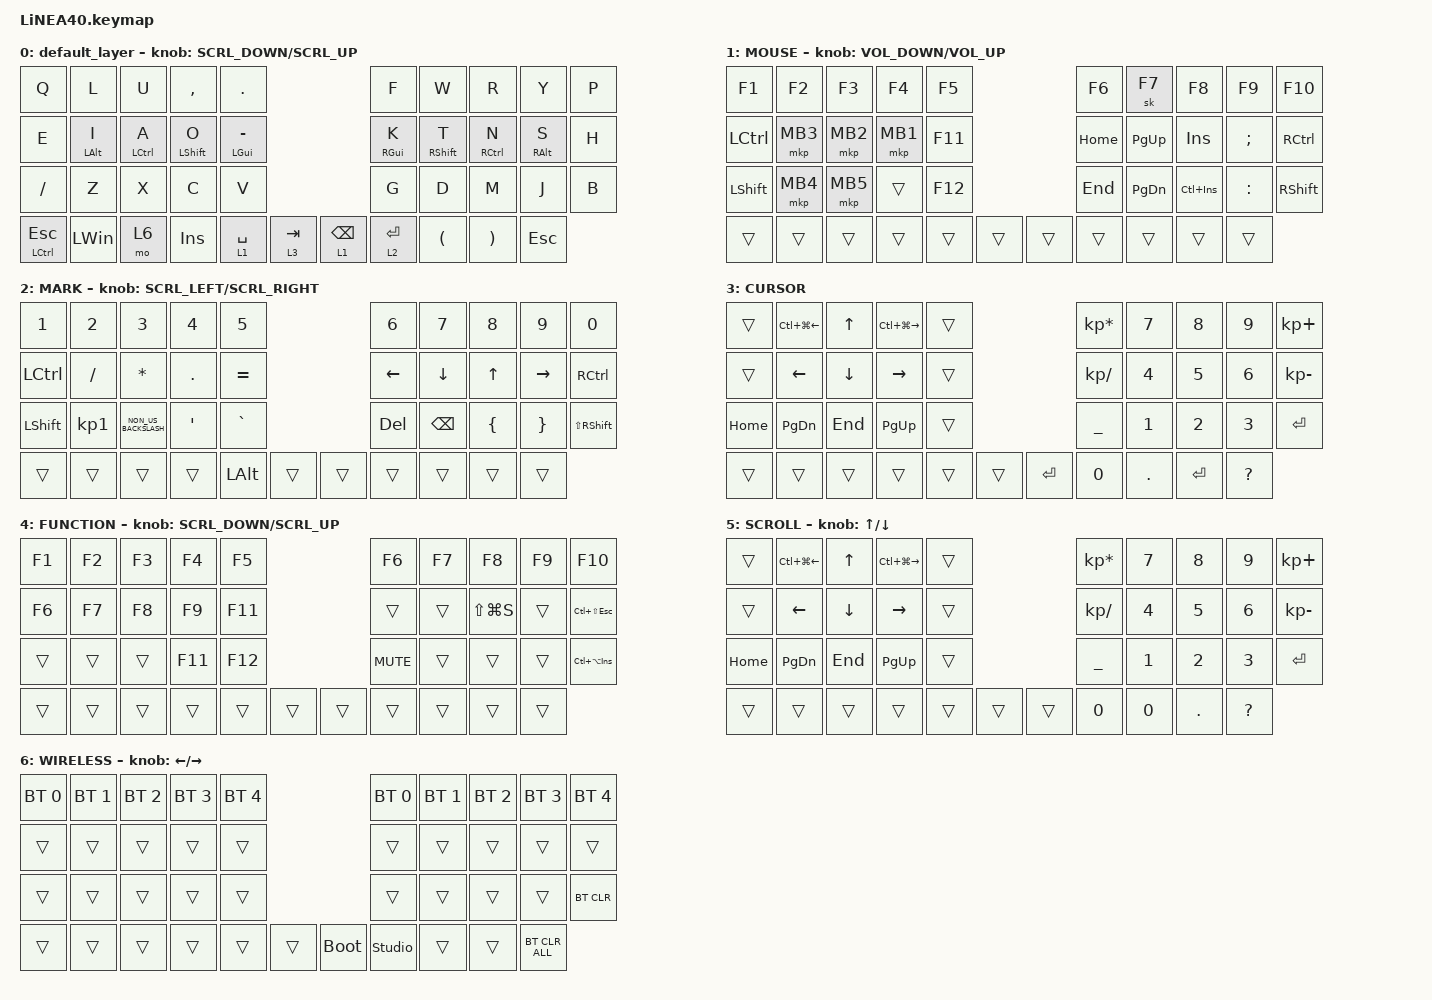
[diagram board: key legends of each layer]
#define ZMK_POINTING_DEFAULT_SCRL_VAL 150

#include <dt-bindings/zmk/input_transform.h>
#include <input/processors.dtsi>
#include <zephyr/dt-bindings/input/input-event-codes.h>
#include <behaviors.dtsi>
#include <dt-bindings/zmk/bt.h>
#include <dt-bindings/zmk/keys.h>
#include <dt-bindings/zmk/pointing.h>

#define MOUSE 1
#define MARK 2
#define CURSOR 3
#define FUNCTION 4
#define SCROLL 5
#define WIRELESS 6

//mouse cursol

&mmv {
    delay-ms = <20>;
    trigger-period-ms = <5>;
    time-to-max-speed-ms = <100>;
    acceleration-exponent = <2>;
};

//mouse scroll

&msc {
    delay-ms = <3>;
    trigger-period-ms = <3>;
    time-to-max-speed-ms = <100>;
    acceleration-exponent = <0>;
};

/ {
    input_processors {
        zip_wheel_scaler: zip_wheel_scaler {
            compatible = "zmk,input-processor-scaler";
            #input-processor-cells = <2>;
            type = <INPUT_EV_REL>;
            codes = <INPUT_REL_WHEEL>;
            track-remainders;
        };
    };
};

&msc_input_listener {
    speed_up {
        layers = <FUNCTION>;
        input-processors = <&zip_wheel_scaler 3 1>; //スクロールを3倍速にする
    };
};

&trackball_listener {
    scroller {
        layers = <SCROLL>;
        input-processors =
            <&zip_xy_transform INPUT_TRANSFORM_Y_INVERT>,
            //スクロール方向を逆転,,,,,
            <&zip_xy_to_scroll_mapper>;
    };
};

/ {
    combos {
        compatible = "zmk,combos";

        spc {
            bindings = <&kp SPACE>;
            key-positions = <11 12>;
        };

        sspc {
            bindings = <&kp LS(SPACE)>;
            key-positions = <1 2>;
        };

        cap {
            bindings = <&kp CAPSLOCK>;
            key-positions = <0 1>;
        };

        tab {
            bindings = <&kp TAB>;
            key-positions = <12 13>;
        };

        home {
            bindings = <&kp HOME>;
            key-positions = <15 16>;
        };

        end {
            bindings = <&kp END>;
            key-positions = <25 26>;
        };

        bs {
            bindings = <&kp BACKSPACE>;
            key-positions = <16 17>;
        };

        ent {
            bindings = <&kp ENTER>;
            key-positions = <17 18>;
        };

        esc {
            bindings = <&kp ESCAPE>;
            key-positions = <8 9>;
        };

        pgup {
            bindings = <&kp PAGE_UP>;
            key-positions = <26 27>;
        };

        pgdn {
            bindings = <&kp PAGE_DOWN>;
            key-positions = <27 28>;
        };
    };

    behaviors {
        re_kp: sensor_rotate_kp {
            compatible = "zmk,behavior-sensor-rotate-var";
            #sensor-binding-cells = <2>;
            bindings = <&kp>, <&kp>;
        };

        mouse_scrl: mouse_wheel_scrl {
            compatible = "zmk,behavior-sensor-rotate-var";
            #sensor-binding-cells = <2>;
            bindings = <&msc>, <&msc>;

            tap-ms = <20>;
        };
    };

    keymap {
        compatible = "zmk,keymap";

        default_layer {
            bindings = <
&kp Q          &kp L           &kp U               &kp COMMA         &kp PERIOD                                        &kp F            &kp W              &kp R                 &kp Y                  &kp P
&kp E          &mt LEFT_ALT I  &mt LEFT_CONTROL A  &mt LEFT_SHIFT O  &mt LEFT_GUI MINUS                                &mt RIGHT_GUI K  &mt RIGHT_SHIFT T  &mt RIGHT_CONTROL N   &mt RIGHT_ALT S        &kp H
&kp SLASH      &kp Z           &kp X               &kp C             &kp V                                             &kp G            &kp D              &kp M                 &kp J                  &kp B
&mt LCTRL ESC  &kp LEFT_WIN    &mo 6               &kp INS           &lt 1 SPACE         &lt 3 TAB    &lt 1 BACKSPACE  &lt 2 ENTER                         &kp LEFT_PARENTHESIS  &kp RIGHT_PARENTHESIS  &kp ESC
            >;

            sensor-bindings = <&mouse_scrl SCRL_DOWN SCRL_UP>;
        };

        //1

        MOUSE {
            bindings = <
&kp F1            &kp F2    &kp F3    &kp F4    &kp F5                     &kp F6    &sk F7         &kp F8       &kp F9         &kp F10
&kp LEFT_CONTROL  &mkp MB3  &mkp MB2  &mkp MB1  &kp F11                    &kp HOME  &kp PAGE_UP    &kp INS      &kp SEMICOLON  &kp RIGHT_CONTROL
&kp LEFT_SHIFT    &mkp MB4  &mkp MB5  &trans    &kp F12                    &kp END   &kp PAGE_DOWN  &kp LC(INS)  &kp COLON      &kp RIGHT_SHIFT
&trans            &trans    &trans    &trans    &trans   &trans    &trans  &trans                   &trans       &trans         &trans
            >;

            sensor-bindings = <&re_kp C_VOLUME_DOWN C_VOLUME_UP>;
        };

        //2

        MARK {
            bindings = <
&kp NUMBER_1      &kp NUMBER_2     &kp NUMBER_3          &kp NUMBER_4  &kp NUMBER_5                    &kp NUMBER_6  &kp NUMBER_7    &kp NUMBER_8    &kp NUMBER_9     &kp N0
&kp LEFT_CONTROL  &kp SLASH        &kp ASTERISK          &kp PERIOD    &kp EQUAL                       &kp LEFT      &kp DOWN_ARROW  &kp UP_ARROW    &kp RIGHT_ARROW  &kp RIGHT_CONTROL
&kp LEFT_SHIFT    &kp KP_NUMBER_1  &kp NON_US_BACKSLASH  &kp APOS      &kp GRAVE                       &kp DELETE    &kp BACKSPACE   &kp LEFT_BRACE  &kp RIGHT_BRACE  &kp LS(RIGHT_SHIFT)
&trans            &trans           &trans                &trans        &kp LEFT_ALT  &trans    &trans  &trans                        &trans          &trans           &trans
            >;

            sensor-bindings = <&mouse_scrl SCRL_LEFT SCRL_RIGHT>;
        };

        //3

        CURSOR {
            bindings = <
&trans    &kp LC(LG(LEFT_ARROW))  &kp UP_ARROW  &kp LC(LG(RIGHT_ARROW))  &trans                       &kp KP_MULTIPLY  &kp NUMBER_7  &kp NUMBER_8  &kp NUMBER_9  &kp KP_PLUS
&trans    &kp LEFT_ARROW          &kp DOWN      &kp RIGHT_ARROW          &trans                       &kp KP_SLASH     &kp NUMBER_4  &kp NUMBER_5  &kp NUMBER_6  &kp KP_MINUS
&kp HOME  &kp PAGE_DOWN           &kp END       &kp PAGE_UP              &trans                       &kp UNDER        &kp NUMBER_1  &kp NUMBER_2  &kp NUMBER_3  &kp ENTER
&trans    &trans                  &trans        &trans                   &trans  &trans    &kp ENTER  &kp NUMBER_0                   &kp DOT       &kp ENTER     &kp QUESTION
            >;
        };

        //4

        FUNCTION {
            bindings = <
&kp F1  &kp F2  &kp F3  &kp F4   &kp F5                     &kp F6      &kp F7  &kp F8         &kp F9  &kp F10
&kp F6  &kp F7  &kp F8  &kp F9   &kp F11                    &trans      &trans  &kp LS(LG(S))  &trans  &kp LC(LS(ESCAPE))
&trans  &trans  &trans  &kp F11  &kp F12                    &kp C_MUTE  &trans  &trans         &trans  &kp LC(LA(INS))
&trans  &trans  &trans  &trans   &trans   &trans    &trans  &trans              &trans         &trans  &trans
            >;

            sensor-bindings = <&mouse_scrl SCRL_DOWN SCRL_UP>;
        };

        //5

        SCROLL {
            bindings = <
&trans    &kp LC(LG(LEFT_ARROW))  &kp UP_ARROW  &kp LC(LG(RIGHT_ARROW))  &trans                    &kp KP_MULTIPLY  &kp NUMBER_7  &kp NUMBER_8  &kp NUMBER_9  &kp KP_PLUS
&trans    &kp LEFT_ARROW          &kp DOWN      &kp RIGHT_ARROW          &trans                    &kp KP_SLASH     &kp NUMBER_4  &kp NUMBER_5  &kp NUMBER_6  &kp KP_MINUS
&kp HOME  &kp PAGE_DOWN           &kp END       &kp PAGE_UP              &trans                    &kp UNDER        &kp NUMBER_1  &kp NUMBER_2  &kp NUMBER_3  &kp ENTER
&trans    &trans                  &trans        &trans                   &trans  &trans    &trans  &kp NUMBER_0                   &kp NUMBER_0  &kp DOT       &kp QUESTION
            >;

            sensor-bindings = <&inc_dec_kp UP_ARROW DOWN_ARROW>;
        };

        //6

        WIRELESS {
            bindings = <
&bt BT_SEL 0  &bt BT_SEL 1  &bt BT_SEL 2  &bt BT_SEL 3  &bt BT_SEL 4                         &bt BT_SEL 0    &bt BT_SEL 1  &bt BT_SEL 2  &bt BT_SEL 3  &bt BT_SEL 4
&trans        &trans        &trans        &trans        &trans                               &trans          &trans        &trans        &trans        &trans
&trans        &trans        &trans        &trans        &trans                               &trans          &trans        &trans        &trans        &bt BT_CLR
&trans        &trans        &trans        &trans        &trans        &trans    &bootloader  &studio_unlock                &trans        &trans        &bt BT_CLR_ALL
            >;

            sensor-bindings = <&inc_dec_kp LEFT_ARROW RIGHT_ARROW>;
        };
    };
};
